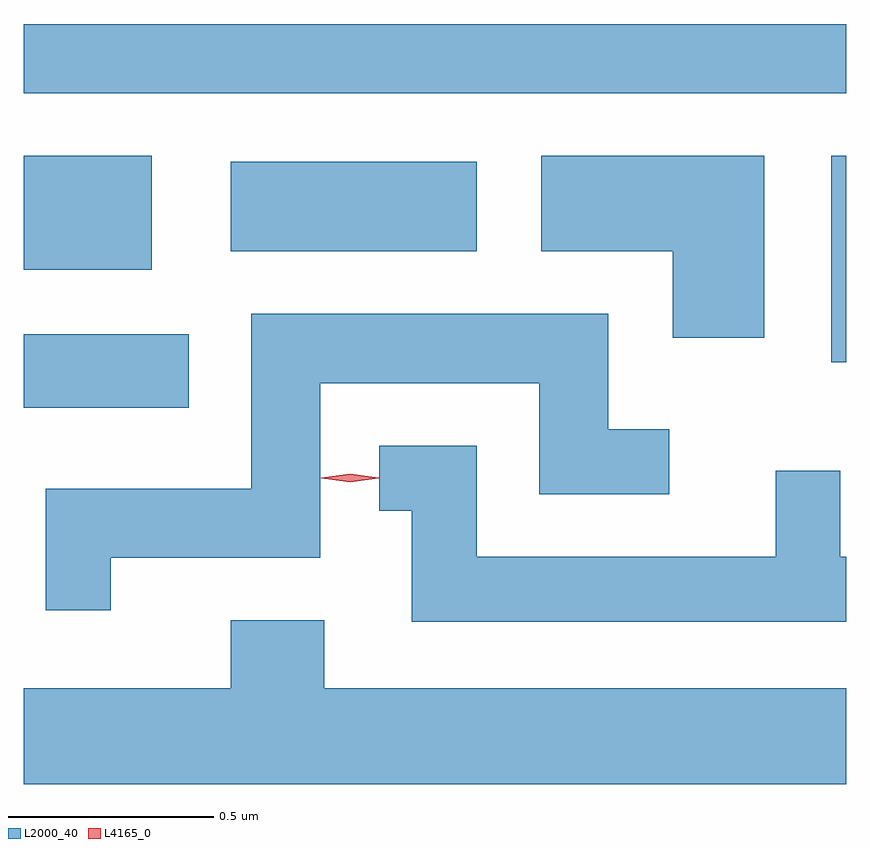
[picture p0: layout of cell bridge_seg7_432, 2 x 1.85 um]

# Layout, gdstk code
import gdstk
lib = gdstk.Library(unit=1e-6, precision=1e-09)
def R(c, l, rs):  # rectangles x0, y0, x1, y1
    for r in rs: c.add(gdstk.rectangle(r[:2], r[2:], *l))
def P(c, l, *ps):  # polygons
    for p in ps: c.add(gdstk.Polygon(p, *l))
L2000_40 = (2000, 40)
L4165_0 = (4165, 0)

bridge_seg7_432 = lib.new_cell('bridge_seg7_432')
R(bridge_seg7_432, L2000_40, [(1066.488,1675.306,1066.889,1675.484), (1068.451,1675.416,1068.488,1675.919), (1066.488,1675.641,1066.799,1675.919), (1066.991,1675.686,1067.589,1675.904), (1066.488,1676.071,1068.488,1676.239)])
P(bridge_seg7_432, L2000_40, [(1068.289,1675.919),(1067.746,1675.919),(1067.746,1675.686),(1068.066,1675.686),(1068.066,1675.476),(1068.289,1675.476)],
  [(1066.699,1674.941),(1067.209,1674.941),(1067.209,1675.366),(1067.741,1675.366),(1067.741,1675.096),(1068.058,1675.096),(1068.058,1675.254),(1067.909,1675.254),(1067.909,1675.534),(1067.041,1675.534),(1067.041,1675.109),(1066.541,1675.109),(1066.541,1674.813),(1066.699,1674.813)],
  [(1068.488,1674.944),(1068.474,1674.944),(1068.474,1675.153),(1068.316,1675.153),(1068.316,1674.944),(1067.589,1674.944),(1067.589,1675.214),(1067.353,1675.214),(1067.353,1675.056),(1067.431,1675.056),(1067.431,1674.786),(1068.488,1674.786)],
  [(1068.488,1674.624),(1067.219,1674.624),(1067.219,1674.789),(1066.991,1674.789),(1066.991,1674.624),(1066.488,1674.624),(1066.488,1674.391),(1068.488,1674.391)])
P(bridge_seg7_432, L4165_0, [(1067.282,1675.125),(1067.212,1675.134),(1067.212,1675.135),(1067.212,1675.136),(1067.282,1675.145),(1067.351,1675.136),(1067.351,1675.135),(1067.351,1675.134)])

lib.write_gds('bridge_seg7_432.gds')
